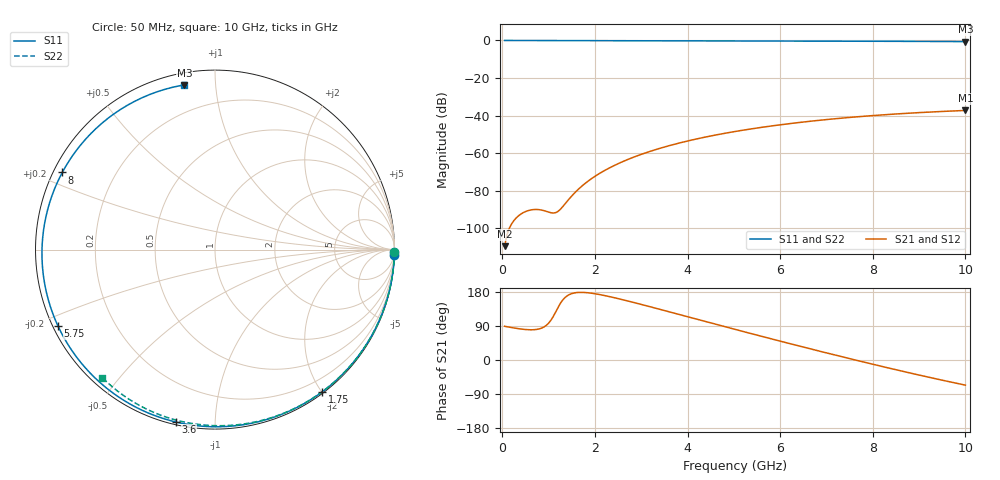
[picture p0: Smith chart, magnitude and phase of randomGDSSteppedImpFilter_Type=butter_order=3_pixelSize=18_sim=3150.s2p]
! freq	dB(S11)	phase(S11)	dB(S12)	phase(S12)
!  dB(S21)	phase(S21)	dB(S22)	phase(S22)
!S-par simulation data
#  GHz  S  DB  R 50
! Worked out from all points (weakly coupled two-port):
!   200 points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, 50 MHz to 10 GHz, reference 50 ohm
!   highest |S21| = -37.24 dB at 10 GHz (marker M1); lowest = -109.4 dB at 50 MHz (marker M2)
!   lowest |S11| = -0.6 dB at 10 GHz (marker M3), VSWR 28.97, Z = 2.92 + j41.5 ohm
!   |S11| at or under -10 dB: nowhere
!   |S22| runs from -0.4 to 0.0 dB; largest |S21 - S12| = 0
!   S11 on the Smith chart (normalised r, x): 50 MHz: 0, -73; 1.75 GHz: 0.02, -2.01; 3.6 GHz: 0.01, -0.80; 5.75 GHz: 0.01, -0.23; 8 GHz: 0.03, +0.24; 10 GHz: 0.06, +0.83
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0.05  -0.00 -1.6  -109.44 89.0  -109.44 89.0  -0.00 -0.8
0.4  -0.02 -12.4  -92.37 81.8  -92.37 81.8  -0.01 -6.0
0.8  -0.03 -24.6  -90.03 82.2  -90.03 82.2  -0.02 -12.1
1.2  -0.05 -36.7  -91.00 137.9  -91.00 137.9  -0.02 -18.0
1.6  -0.06 -48.5  -80.15 177.9  -80.15 177.9  -0.03 -24.0
1.75  -0.07 -52.9  -76.82 178.4  -76.82 178.4  -0.03 -26.2
2.05  -0.08 -61.5  -71.50 173.8  -71.50 173.8  -0.04 -30.6
2.45  -0.09 -72.6  -66.14 163.5  -66.14 163.5  -0.05 -36.4
2.9  -0.11 -84.7  -61.49 149.9  -61.49 149.9  -0.06 -42.8
3.4  -0.12 -97.8  -57.41 133.8  -57.41 133.8  -0.07 -49.8
3.6  -0.13 -102.8  -56.00 127.3  -56.00 127.3  -0.07 -52.6
4.3  -0.16 -120.1  -51.83 104.4  -51.83 104.4  -0.09 -62.2
5.05  -0.20 -137.9  -48.33 80.1  -48.33 80.1  -0.11 -72.1
5.75  -0.24 -154.1  -45.70 57.7  -45.70 57.7  -0.14 -81.2
6.25  -0.27 -165.6  -44.11 41.9  -44.11 41.9  -0.16 -87.4
6.7  -0.31 -176.0  -42.85 28.0  -42.85 28.0  -0.18 -93.0
7.35  -0.36 168.8  -41.27 8.1  -41.27 8.1  -0.22 -100.8
8  -0.42 153.2  -39.96 -11.2  -39.96 -11.2  -0.26 -108.5
8.35  -0.45 144.5  -39.35 -21.4  -39.35 -21.4  -0.29 -112.6
8.8  -0.49 133.0  -38.66 -34.2  -38.66 -34.2  -0.32 -117.7
9.25  -0.53 121.2  -38.06 -46.6  -38.06 -46.6  -0.37 -122.9
10  -0.60 100.5  -37.24 -66.4  -37.24 -66.4  -0.44 -131.3
